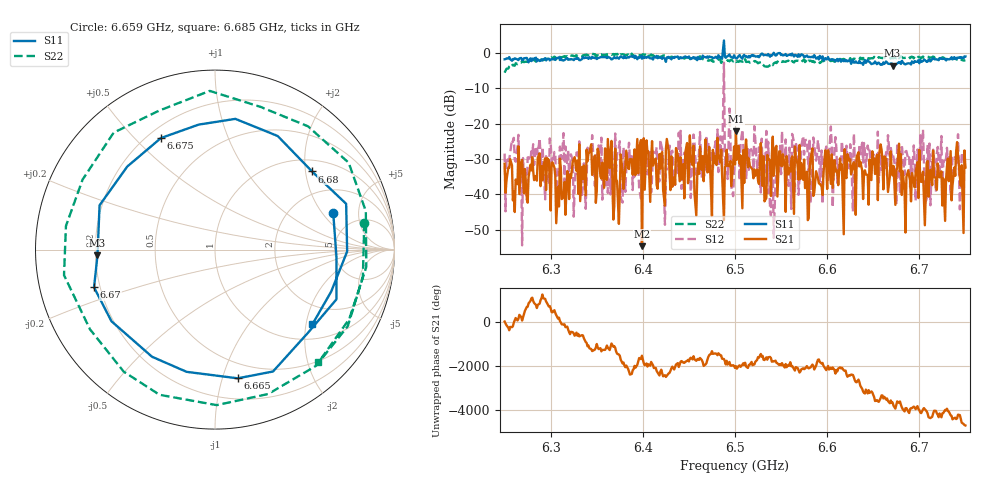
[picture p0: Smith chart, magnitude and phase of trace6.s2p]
# Hz S RI R 50
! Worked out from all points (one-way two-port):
!   401 points, 6.25 GHz to 6.75 GHz, reference 50 ohm
!   highest |S21| = -22.18 dB at 6.501 GHz (marker M1); lowest = -54.7 dB at 6.399 GHz (marker M2)
!   lowest |S11| = -3.7 dB at 6.671 GHz (marker M3), VSWR 4.81, Z = 10.4 - j1.19 ohm
!   |S11| at or under -10 dB: nowhere
!   |S22| runs from -5.6 to 0.0 dB; largest |S21 - S12| = 0.73
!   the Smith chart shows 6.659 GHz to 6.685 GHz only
!   S11 on the Smith chart (normalised r, x): 6.659 GHz: 3.32, +2.58; 6.665 GHz: 0.37, -1.12; 6.67 GHz: 0.18, -0.15; 6.675 GHz: 0.25, +0.60; 6.68 GHz: 1.29, +2.17; 6.685 GHz: 1.39, -2.18
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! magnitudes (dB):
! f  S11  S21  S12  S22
! 6.25 GHz  -1.9  -31.4  -28.5  -5.6
! 6.271 GHz  -1.6  -39.7  -38.5  -2.7
! 6.286 GHz  -1.9  -29.7  -28.8  -2.2
! 6.334 GHz  -1.8  -32.3  -40.9  -1.0
! 6.399 GHz  -1.7  -54.7  -34.2  -0.9
! 6.418 GHz  -1.3  -28.7  -36.3  -1.3
! 6.486 GHz  -1.7  -34.5  -33.1  -2.6
! 6.5 GHz  -1.3  -31.6  -28.6  -2.3
! 6.501 GHz  -1.5  -22.2  -29.3  -2.6
! 6.531 GHz  -0.7  -29.2  -31.4  -3.5
! 6.54 GHz  -0.8  -28.8  -31.1  -3.1
! 6.55 GHz  -0.7  -31.9  -34.3  -2.5
! 6.584 GHz  -1.1  -27.0  -33.8  -2.6
! 6.659 GHz  -3.2  -27.3  -33.1  -1.5
! 6.665 GHz  -2.8  -33.8  -34.8  -1.2
! 6.668 GHz  -3.2  -35.0  -29.3  -1.4
! 6.67 GHz  -3.0  -33.6  -28.8  -1.4
! 6.671 GHz  -3.7  -34.7  -28.3  -1.5
! 6.675 GHz  -3.2  -33.3  -42.9  -1.6
! 6.68 GHz  -3.2  -28.7  -33.1  -1.0
! 6.685 GHz  -3.3  -50.8  -27.9  -1.4
! 6.75 GHz  -1.1  -32.4  -32.9  -2.1
